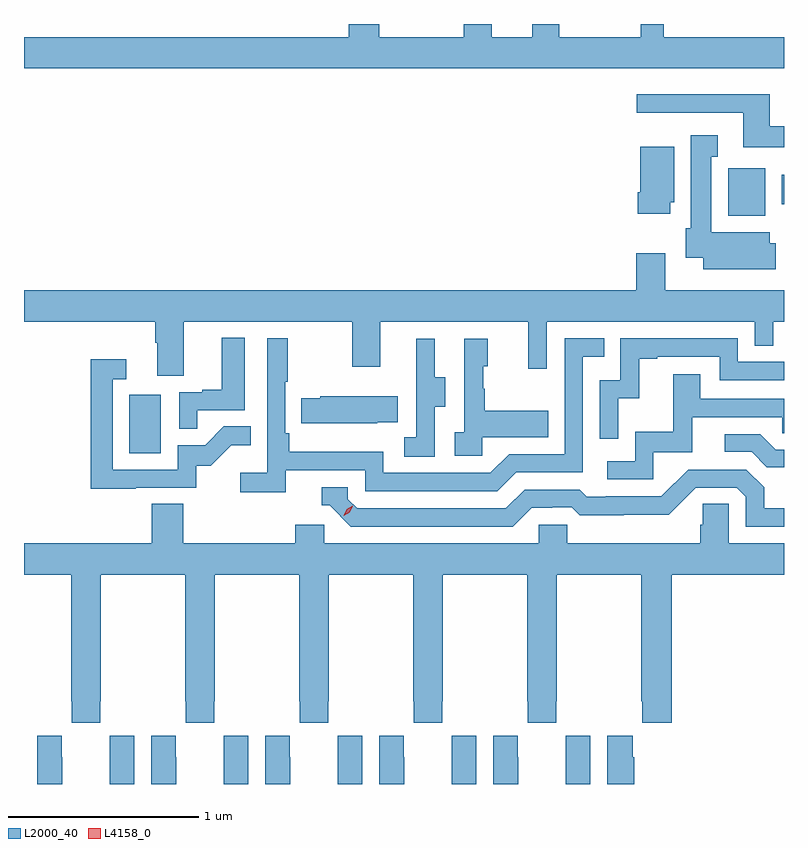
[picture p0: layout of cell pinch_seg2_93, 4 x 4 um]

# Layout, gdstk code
import gdstk
lib = gdstk.Library(unit=1e-6, precision=1e-09)
def R(c, l, rs):  # rectangles x0, y0, x1, y1
    for r in rs: c.add(gdstk.rectangle(r[:2], r[2:], *l))
def P(c, l, *ps):  # polygons
    for p in ps: c.add(gdstk.Polygon(p, *l))
L2000_40 = (2000, 40)
L4158_0 = (4158, 0)

pinch_seg2_93 = lib.new_cell('pinch_seg2_93')
R(pinch_seg2_93, L2000_40, [(1020.242,642.948,1020.406,643.255), (1023.393,644.198,1023.589,644.448), (1023.674,644.257,1023.687,644.413)])
P(pinch_seg2_93, L2000_40, [(1023.687,645.136),(1023.055,645.136),(1023.055,645.206),(1022.933,645.206),(1022.933,645.136),(1022.503,645.136),(1022.503,645.206),(1022.363,645.206),(1022.363,645.136),(1022.149,645.136),(1022.149,645.206),(1022.002,645.206),(1022.002,645.136),(1021.557,645.136),(1021.557,645.206),(1021.397,645.206),(1021.397,645.136),(1019.687,645.136),(1019.687,644.972),(1023.687,644.972)],
  [(1023.687,644.668),(1023.613,644.668),(1023.613,644.836),(1022.913,644.836),(1022.913,644.739),(1023.473,644.739),(1023.473,644.558),(1023.687,644.558)],
  [(1023.643,644.051),(1023.613,644.051),(1023.613,644.11),(1023.304,644.11),(1023.304,644.507),(1023.337,644.507),(1023.337,644.62),(1023.197,644.62),(1023.197,644.13),(1023.17,644.13),(1023.17,643.976),(1023.263,643.976),(1023.263,643.916),(1023.643,643.916)],
  [(1023.088,644.268),(1023.109,644.268),(1023.109,644.56),(1022.93,644.56),(1022.93,644.32),(1022.918,644.32),(1022.918,644.208),(1023.088,644.208)],
  [(1020.529,643.64),(1021.414,643.64),(1021.414,643.401),(1021.561,643.401),(1021.561,643.64),(1022.342,643.64),(1022.342,643.392),(1022.439,643.392),(1022.439,643.64),(1023.534,643.64),(1023.534,643.513),(1023.63,643.513),(1023.63,643.64),(1023.687,643.64),(1023.687,643.804),(1023.061,643.804),(1023.061,643.999),(1022.909,643.999),(1022.909,643.804),(1019.687,643.804),(1019.687,643.64),(1020.377,643.64),(1020.377,643.528),(1020.389,643.528),(1020.389,643.354),(1020.529,643.354)],
  [(1020.599,643.173),(1020.85,643.173),(1020.85,643.555),(1020.728,643.555),(1020.728,643.282),(1020.625,643.282),(1020.625,643.269),(1020.504,643.269),(1020.504,643.075),(1020.599,643.075)],
  [(1021.064,642.858),(1021.482,642.858),(1021.482,642.747),(1022.179,642.747),(1022.278,642.846),(1022.628,642.846),(1022.628,643.455),(1022.741,643.455),(1022.741,643.551),(1022.532,643.551),(1022.532,642.942),(1022.241,642.942),(1022.142,642.843),(1021.578,642.843),(1021.578,642.955),(1021.082,642.955),(1021.082,643.051),(1021.062,643.051),(1021.062,643.324),(1021.075,643.324),(1021.075,643.552),(1020.966,643.552),(1020.966,642.844),(1020.825,642.844),(1020.825,642.742),(1021.064,642.742)],
  [(1022.814,643.235),(1022.924,643.235),(1022.924,643.443),(1023.019,643.443),(1023.019,643.455),(1023.348,643.455),(1023.348,643.332),(1023.687,643.332),(1023.687,643.428),(1023.444,643.428),(1023.444,643.551),(1022.826,643.551),(1022.826,643.332),(1022.718,643.332),(1022.718,643.023),(1022.814,643.023)],
  [(1022.1,643.031),(1022.447,643.031),(1022.447,643.171),(1022.113,643.171),(1022.113,643.286),(1022.103,643.286),(1022.103,643.404),(1022.128,643.404),(1022.128,643.549),(1022.004,643.549),(1022.004,643.058),(1021.953,643.058),(1021.953,642.933),(1022.1,642.933)],
  [(1021.848,643.192),(1021.903,643.192),(1021.903,643.347),(1021.849,643.347),(1021.849,643.549),(1021.751,643.549),(1021.751,643.335),(1021.752,643.335),(1021.752,643.031),(1021.689,643.031),(1021.689,642.928),(1021.848,642.928)],
  [(1020.275,642.765),(1020.594,642.765),(1020.594,642.882),(1020.67,642.882),(1020.777,642.989),(1020.881,642.989),(1020.881,643.088),(1020.738,643.088),(1020.64,642.99),(1020.495,642.99),(1020.495,642.861),(1020.153,642.861),(1020.153,643.335),(1020.226,643.335),(1020.226,643.441),(1020.037,643.441),(1020.037,642.76),(1020.275,642.76)],
  [(1023,642.951),(1023.205,642.951),(1023.205,643.137),(1023.679,643.137),(1023.679,643.053),(1023.687,643.053),(1023.687,643.233),(1023.247,643.233),(1023.247,643.363),(1023.103,643.363),(1023.103,643.06),(1022.904,643.06),(1022.904,642.906),(1022.757,642.906),(1022.757,642.81),(1023,642.81)],
  [(1021.547,643.109),(1021.655,643.109),(1021.655,643.246),(1021.245,643.246),(1021.245,643.236),(1021.147,643.236),(1021.147,643.106),(1021.547,643.106)],
  [(1023.687,642.966),(1023.643,642.966),(1023.562,643.047),(1023.375,643.047),(1023.375,642.954),(1023.516,642.954),(1023.596,642.874),(1023.687,642.874)],
  [(1022.359,642.66),(1022.466,642.66),(1022.466,642.663),(1022.569,642.663),(1022.611,642.621),(1022.844,642.621),(1022.844,642.623),(1023.08,642.623),(1023.222,642.765),(1023.438,642.765),(1023.486,642.717),(1023.486,642.561),(1023.687,642.561),(1023.687,642.657),(1023.583,642.657),(1023.583,642.767),(1023.489,642.861),(1023.183,642.861),(1023.042,642.72),(1022.749,642.72),(1022.749,642.717),(1022.65,642.717),(1022.611,642.756),(1022.322,642.756),(1022.223,642.657),(1021.44,642.657),(1021.392,642.705),(1021.392,642.768),(1021.253,642.768),(1021.253,642.672),(1021.296,642.672),(1021.407,642.561),(1022.26,642.561)],
  [(1021.266,642.57),(1021.115,642.57),(1021.115,642.472),(1020.524,642.472),(1020.524,642.68),(1020.359,642.68),(1020.359,642.472),(1019.687,642.472),(1019.687,642.308),(1019.935,642.308),(1019.935,641.641),(1019.937,641.641),(1019.937,641.529),(1020.087,641.529),(1020.087,641.641),(1020.09,641.641),(1020.09,642.308),(1020.535,642.308),(1020.535,641.641),(1020.537,641.641),(1020.537,641.529),(1020.687,641.529),(1020.687,641.641),(1020.69,641.641),(1020.69,642.308),(1021.135,642.308),(1021.135,641.641),(1021.137,641.641),(1021.137,641.529),(1021.287,641.529),(1021.287,641.641),(1021.29,641.641),(1021.29,642.308),(1021.735,642.308),(1021.735,641.641),(1021.737,641.641),(1021.737,641.529),(1021.887,641.529),(1021.887,641.641),(1021.89,641.641),(1021.89,642.308),(1022.335,642.308),(1022.335,641.641),(1022.337,641.641),(1022.337,641.529),(1022.487,641.529),(1022.487,641.641),(1022.49,641.641),(1022.49,642.308),(1022.935,642.308),(1022.935,641.641),(1022.941,641.641),(1022.941,641.529),(1023.095,641.529),(1023.095,642.308),(1023.687,642.308),(1023.687,642.472),(1023.396,642.472),(1023.396,642.68),(1023.259,642.68),(1023.259,642.57),(1023.245,642.57),(1023.245,642.472),(1022.547,642.472),(1022.547,642.57),(1022.397,642.57),(1022.397,642.472),(1021.266,642.472)],
  [(1020.868,641.461),(1020.738,641.461),(1020.738,641.348),(1020.737,641.348),(1020.737,641.206),(1020.868,641.206)],
  [(1021.087,641.348),(1021.086,641.348),(1021.086,641.461),(1020.956,641.461),(1020.956,641.206),(1021.087,641.206)],
  [(1020.487,641.348),(1020.486,641.348),(1020.486,641.461),(1020.356,641.461),(1020.356,641.206),(1020.487,641.206)],
  [(1020.268,641.461),(1020.138,641.461),(1020.138,641.348),(1020.137,641.348),(1020.137,641.206),(1020.268,641.206)],
  [(1022.668,641.461),(1022.538,641.461),(1022.538,641.348),(1022.537,641.348),(1022.537,641.206),(1022.668,641.206)],
  [(1022.287,641.348),(1022.286,641.348),(1022.286,641.461),(1022.156,641.461),(1022.156,641.206),(1022.287,641.206)],
  [(1022.068,641.461),(1021.938,641.461),(1021.938,641.348),(1021.937,641.348),(1021.937,641.206),(1022.068,641.206)],
  [(1021.687,641.348),(1021.686,641.348),(1021.686,641.461),(1021.556,641.461),(1021.556,641.206),(1021.687,641.206)],
  [(1021.468,641.461),(1021.338,641.461),(1021.338,641.348),(1021.337,641.348),(1021.337,641.206),(1021.468,641.206)],
  [(1022.9,641.348),(1022.89,641.348),(1022.89,641.461),(1022.756,641.461),(1022.756,641.206),(1022.9,641.206)],
  [(1019.887,641.348),(1019.886,641.348),(1019.886,641.461),(1019.756,641.461),(1019.756,641.206),(1019.887,641.206)])
P(pinch_seg2_93, L4158_0, [(1021.371,642.618),(1021.371,642.618),(1021.386,642.651),(1021.416,642.67),(1021.417,642.67),(1021.417,642.67),(1021.401,642.637),(1021.371,642.618)])

lib.write_gds('pinch_seg2_93.gds')
